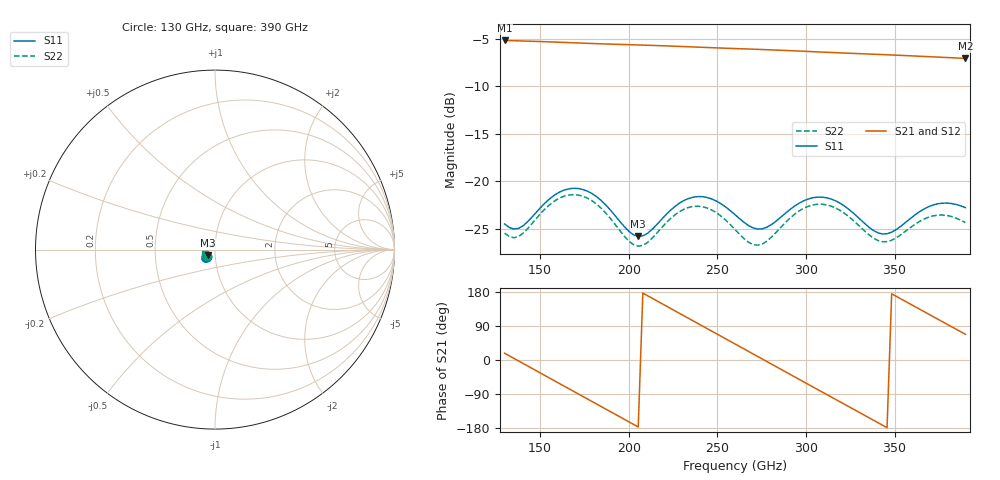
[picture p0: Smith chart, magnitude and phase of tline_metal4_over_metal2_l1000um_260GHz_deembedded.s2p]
! Created with skrf 2.0.1 (http://scikit-rf.org).
# GHz S DB R 50.0
!freq dBS11 angS11 dBS21 angS21 dBS12 angS12 dBS22 angS22
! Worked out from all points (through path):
!   101 points, 130 GHz to 390 GHz, reference 50 ohm
!   highest |S21| = -5.15 dB at 130 GHz (marker M1); lowest = -7.0 dB at 390 GHz (marker M2)
!   group delay of S21, straight-line fit = 7.16 ps
!   lowest |S11| = -25.8 dB at 205.4 GHz (marker M3), VSWR 1.11, Z = 46.1 - j2.93 ohm
!   |S11| at or under -10 dB: start of sweep to end of sweep
!   |S22| runs from -26.9 to -21.4 dB; largest |S21 - S12| = 6.3e-14
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130  -24.51 -138.9  -5.15 17.8  -5.15 17.8  -25.47 -141.7
137.8  -24.98 -127.1  -5.20 -2.3  -5.20 -2.3  -25.84 -129.0
148.2  -23.21 -118.5  -5.26 -29.2  -5.26 -29.2  -23.87 -121.2
161.2  -21.13 -126.7  -5.34 -62.8  -5.34 -62.8  -21.76 -131.0
174.2  -20.88 -142.0  -5.44 -96.3  -5.44 -96.3  -21.59 -147.6
192.4  -23.64 -155.2  -5.56 -143.2  -5.56 -143.2  -24.57 -162.0
205.4  -25.82 -141.7  -5.63 -176.7  -5.63 -176.7  -26.86 -147.8
218.4  -24.06 -126.9  -5.71 149.7  -5.71 149.7  -24.95 -133.6
228.8  -22.30 -130.4  -5.78 122.8  -5.78 122.8  -23.20 -138.3
239.2  -21.62 -139.7  -5.86 95.9  -5.86 95.9  -22.64 -148.7
249.6  -22.11 -148.9  -5.94 69.1  -5.94 69.1  -23.34 -158.6
260  -23.54 -152.7  -6.01 42.4  -6.01 42.4  -25.10 -162.2
270.4  -24.94 -146.1  -6.08 15.5  -6.08 15.5  -26.70 -152.5
280.8  -24.55 -134.4  -6.15 -11.3  -6.15 -11.3  -25.86 -138.5
291.2  -22.96 -131.9  -6.23 -38.1  -6.23 -38.1  -23.87 -137.2
304.2  -21.74 -140.0  -6.34 -71.6  -6.34 -71.6  -22.49 -147.6
322.4  -22.71 -154.0  -6.49 -118.4  -6.49 -118.4  -23.47 -163.9
335.4  -24.82 -152.6  -6.59 -151.8  -6.59 -151.8  -25.63 -163.7
348.4  -25.38 -136.9  -6.69 174.7  -6.69 174.7  -26.23 -149.4
358.8  -23.96 -130.1  -6.77 147.9  -6.77 147.9  -24.91 -143.7
371.8  -22.51 -133.9  -6.89 114.5  -6.89 114.5  -23.66 -148.7
390  -22.79 -143.1  -7.04 67.8  -7.04 67.8  -24.37 -158.4
